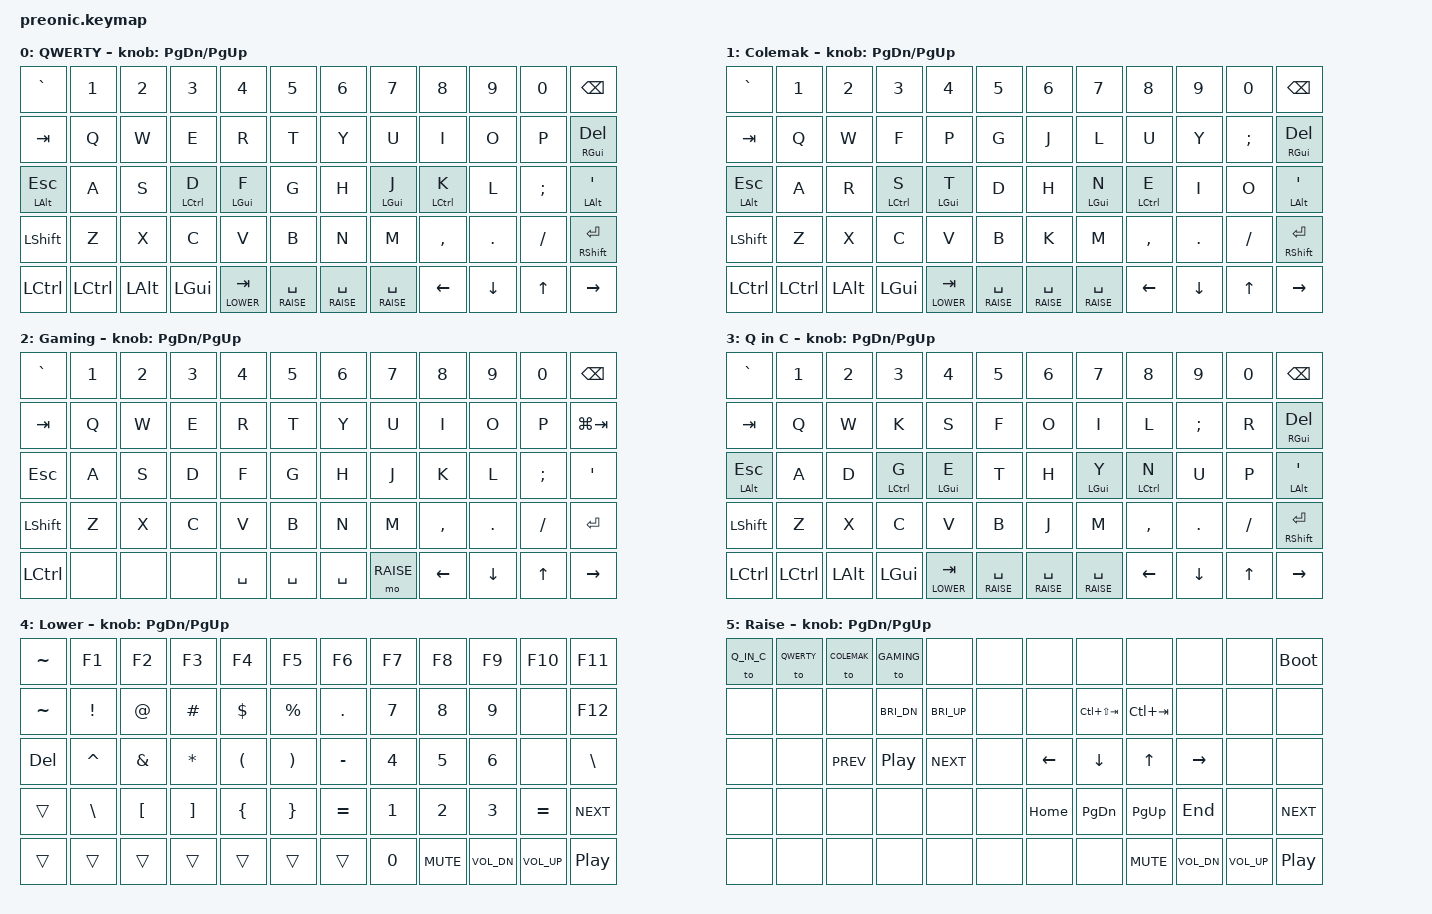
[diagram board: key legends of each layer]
/*
 * Preonic rev3 Drop -- ZMK keymap.
 *
 * Key position indices for a 5x12 grid (60 keys, 0-59):
 *
 *  0  1  2  3  4  5    6  7  8  9  10 11
 * 12 13 14 15 16 17   18 19 20 21  22 23
 * 24 25 26 27 28 29   30 31 32 33  34 35
 * 36 37 38 39 40 41   42 43 44 45  46 47
 * 48 49 50 51 52 53   54 55 56 57  58 59
 */

#define KEYS_L  0  1  2  3  4  5  12 13 14 15 16 17 24 25 26 27 28 29 36 37 38 39 40 41 48 49 50 51 52 53
#define KEYS_R  6  7  8  9  10 11 18 19 20 21 22 23 30 31 32 33 34 35 42 43 44 45 46 47 54 55 56 57 58 59
#define THUMBS  48 49 50 51 52 53 54 55 56 57 58 59

#include "../../shared/base.keymap"

/ {
    keymap {
        compatible = "zmk,keymap";

        qwerty_layer {
            display-name = "QWERTY";
            bindings = <
                &kp GRAVE      &kp N1    &kp N2   &kp N3        &kp N4        &kp N5       &kp N6       &kp N7        &kp N8        &kp N9    &kp N0    &kp BSPC
                &kp TAB        &kp Q     &kp W    &kp E         &kp R         &kp T        &kp Y        &kp U         &kp I         &kp O     &kp P     &hmr RGUI DEL
                &hml LALT ESC  &kp A     &kp S    &hml LCTRL D  &hml LGUI F   &kp G        &kp H        &hmr LGUI J   &hmr LCTRL K  &kp L     &kp SEMI  &hmr LALT SQT
                &kp LSHFT      &kp Z     &kp X    &kp C         &kp V         &kp B        &kp N        &kp M         &kp COMMA     &kp DOT   &kp SLASH &mt RSHFT RET
                &kp LCTRL      &kp LCTRL &kp LALT &kp LGUI      &lt LOWER TAB &lt RAISE SPACE &lt RAISE SPACE &lt RAISE SPACE &kp LEFT &kp DOWN &kp UP   &kp RIGHT
            >;
            sensor-bindings = <&inc_dec_kp PG_DN PG_UP>;
        };

        colemak_layer {
            display-name = "Colemak";
            bindings = <
                &kp GRAVE      &kp N1    &kp N2   &kp N3        &kp N4        &kp N5       &kp N6       &kp N7        &kp N8        &kp N9    &kp N0    &kp BSPC
                &kp TAB        &kp Q     &kp W    &kp F         &kp P         &kp G        &kp J        &kp L         &kp U         &kp Y     &kp SEMI  &hmr RGUI DEL
                &hml LALT ESC  &kp A     &kp R    &hml LCTRL S  &hml LGUI T   &kp D        &kp H        &hmr LGUI N   &hmr LCTRL E  &kp I     &kp O     &hmr LALT SQT
                &kp LSHFT      &kp Z     &kp X    &kp C         &kp V         &kp B        &kp K        &kp M         &kp COMMA     &kp DOT   &kp SLASH &mt RSHFT RET
                &kp LCTRL      &kp LCTRL &kp LALT &kp LGUI      &lt LOWER TAB &lt RAISE SPACE &lt RAISE SPACE &lt RAISE SPACE &kp LEFT &kp DOWN &kp UP   &kp RIGHT
            >;
            sensor-bindings = <&inc_dec_kp PG_DN PG_UP>;
        };

        gaming_layer {
            display-name = "Gaming";
            bindings = <
                &kp GRAVE  &kp N1   &kp N2   &kp N3   &kp N4    &kp N5    &kp N6    &kp N7       &kp N8    &kp N9    &kp N0    &kp BSPC
                &kp TAB    &kp Q    &kp W    &kp E    &kp R     &kp T     &kp Y     &kp U        &kp I     &kp O     &kp P     &kp LG(TAB)
                &kp ESC    &kp A    &kp S    &kp D    &kp F     &kp G     &kp H     &kp J        &kp K     &kp L     &kp SEMI  &kp SQT
                &kp LSHFT  &kp Z    &kp X    &kp C    &kp V     &kp B     &kp N     &kp M        &kp COMMA &kp DOT   &kp SLASH &kp RET
                &kp LCTRL  &none    &none    &none    &kp SPACE &kp SPACE &kp SPACE &mo RAISE    &kp LEFT  &kp DOWN  &kp UP    &kp RIGHT
            >;
            sensor-bindings = <&inc_dec_kp PG_DN PG_UP>;
        };

        qwerty_in_colemak_layer {
            display-name = "Q in C";
            bindings = <
                &kp GRAVE      &kp N1    &kp N2   &kp N3        &kp N4        &kp N5       &kp N6       &kp N7        &kp N8        &kp N9    &kp N0    &kp BSPC
                &kp TAB        &kp Q     &kp W    &kp K         &kp S         &kp F        &kp O        &kp I         &kp L         &kp SEMI  &kp R     &hmr RGUI DEL
                &hml LALT ESC  &kp A     &kp D    &hml LCTRL G  &hml LGUI E   &kp T        &kp H        &hmr LGUI Y   &hmr LCTRL N  &kp U     &kp P     &hmr LALT SQT
                &kp LSHFT      &kp Z     &kp X    &kp C         &kp V         &kp B        &kp J        &kp M         &kp COMMA     &kp DOT   &kp SLASH &mt RSHFT RET
                &kp LCTRL      &kp LCTRL &kp LALT &kp LGUI      &lt LOWER TAB &lt RAISE SPACE &lt RAISE SPACE &lt RAISE SPACE &kp LEFT &kp DOWN &kp UP   &kp RIGHT
            >;
            sensor-bindings = <&inc_dec_kp PG_DN PG_UP>;
        };

        lower_layer {
            display-name = "Lower";
            bindings = <
                &kp TILDE  &kp F1    &kp F2   &kp F3       &kp F4    &kp F5    &kp F6    &kp F7    &kp F8    &kp F9      &kp F10   &kp F11
                &kp TILDE  &kp EXCL  &kp AT   &kp HASH     &kp DLLR  &kp PRCNT &kp DOT   &kp N7    &kp N8    &kp N9      &none     &kp F12
                &kp DEL    &kp CARET &kp AMPS &kp ASTRK    &kp LPAR  &kp RPAR  &kp MINUS &kp N4    &kp N5    &kp N6      &none     &kp BSLH
                &trans     &kp BSLH  &kp LBKT &kp RBKT     &kp LBRC  &kp RBRC  &kp EQUAL &kp N1    &kp N2    &kp N3      &kp EQUAL &kp C_NEXT
                &trans     &trans    &trans   &trans        &trans    &trans    &trans    &kp N0    &kp C_MUTE &kp C_VOL_DN &kp C_VOL_UP &kp C_PP
            >;
            sensor-bindings = <&inc_dec_kp PG_DN PG_UP>;
        };

        raise_layer {
            display-name = "Raise";
            bindings = <
                &to Q_IN_C &to QWERTY &to COLEMAK &to GAMING &none     &none     &none     &none              &none          &none      &none     &bootloader
                &none      &none      &none       &kp C_BRI_DN &kp C_BRI_UP &none  &none    &kp LC(LS(TAB))    &kp LC(TAB)    &none      &none     &none
                &none      &none      &kp C_PREV  &kp C_PP   &kp C_NEXT &none     &kp LEFT  &kp DOWN           &kp UP         &kp RIGHT  &none     &none
                &none      &none      &none       &none      &none     &none     &kp HOME  &kp PG_DN          &kp PG_UP      &kp END    &none     &kp C_NEXT
                &none      &none      &none       &none      &none     &none     &none     &none              &kp C_MUTE     &kp C_VOL_DN &kp C_VOL_UP &kp C_PP
            >;
            sensor-bindings = <&inc_dec_kp PG_DN PG_UP>;
        };
    };
};
